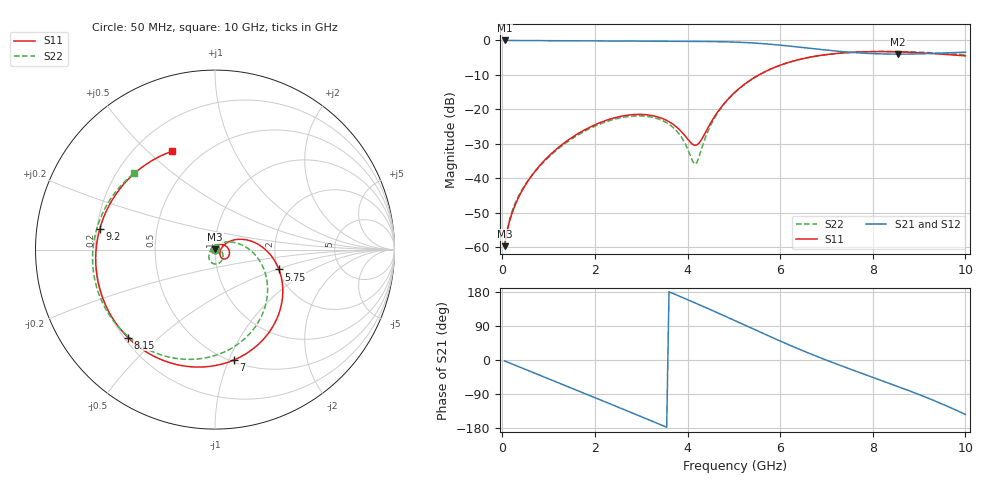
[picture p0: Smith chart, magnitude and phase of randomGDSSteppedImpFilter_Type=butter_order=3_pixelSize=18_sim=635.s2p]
! freq	dB(S11)	phase(S11)	dB(S12)	phase(S12)
!  dB(S21)	phase(S21)	dB(S22)	phase(S22)
!S-par simulation data
#  GHz  S  DB  R 50
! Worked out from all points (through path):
!   200 points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, 50 MHz to 10 GHz, reference 50 ohm
!   highest |S21| = 0.00 dB at 50 MHz (marker M1); lowest = -4.0 dB at 8.55 GHz (marker M2)
!   group delay of S21, straight-line fit = 141 ps
!   lowest |S11| = -59.7 dB at 50 MHz (marker M3), VSWR 1.00, Z = 50 + j0.0965 ohm
!   |S11| at or under -10 dB: start of sweep to 5.541 GHz
!   |S22| runs from -59.4 to -3.2 dB; largest |S21 - S12| = 0
!   S11 on the Smith chart (normalised r, x): 50 MHz: 1.00, +0.00; 5.75 GHz: 2.02, -0.52; 7 GHz: 0.52, -1.04; 8.15 GHz: 0.22, -0.40; 9.2 GHz: 0.21, +0.09; 10 GHz: 0.35, +0.60
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0.05  -59.68 68.4  -0.00 -2.5  -0.00 -2.5  -59.41 55.1
0.1  -55.51 70.5  -0.01 -5.0  -0.01 -5.0  -55.37 61.6
0.25  -48.68 79.3  -0.02 -12.5  -0.02 -12.5  -48.16 60.9
0.55  -40.87 80.8  -0.04 -27.3  -0.04 -27.3  -40.75 42.3
1.2  -31.18 60.3  -0.07 -59.5  -0.07 -59.5  -31.53 2.3
1.75  -26.15 35.2  -0.11 -86.9  -0.11 -86.9  -26.53 -26.4
2.5  -22.19 -2.1  -0.17 -124.4  -0.17 -124.4  -22.61 -63.2
3.4  -22.37 -43.4  -0.24 -169.8  -0.24 -169.8  -22.93 -110.2
3.8  -25.56 -51.9  -0.25 169.6  -0.25 169.6  -26.81 -138.0
4.15  -30.40 -19.6  -0.27 151.3  -0.27 151.3  -35.86 141.3
4.6  -21.74 29.7  -0.33 127.2  -0.33 127.2  -22.12 33.0
5.05  -14.69 17.1  -0.49 102.5  -0.49 102.5  -14.77 2.3
5.75  -8.57 -17.2  -1.06 63.6  -1.06 63.6  -8.60 -37.9
6.2  -6.30 -40.5  -1.64 39.4  -1.64 39.4  -6.32 -62.0
6.7  -4.71 -65.7  -2.38 14.0  -2.38 14.0  -4.74 -86.8
7  -4.10 -80.2  -2.81 -0.5  -2.81 -0.5  -4.13 -100.8
7.55  -3.44 -106.3  -3.47 -25.7  -3.47 -25.7  -3.45 -124.9
8.15  -3.24 -134.6  -3.89 -52.4  -3.89 -52.4  -3.19 -149.6
8.35  -3.25 -144.3  -3.95 -61.3  -3.95 -61.3  -3.18 -157.7
8.55  -3.31 -154.4  -3.97 -70.3  -3.97 -70.3  -3.21 -165.7
9.2  -3.71 169.6  -3.81 -100.9  -3.81 -100.9  -3.52 168.5
10  -4.47 113.3  -3.41 -143.8  -3.41 -143.8  -4.15 136.6
